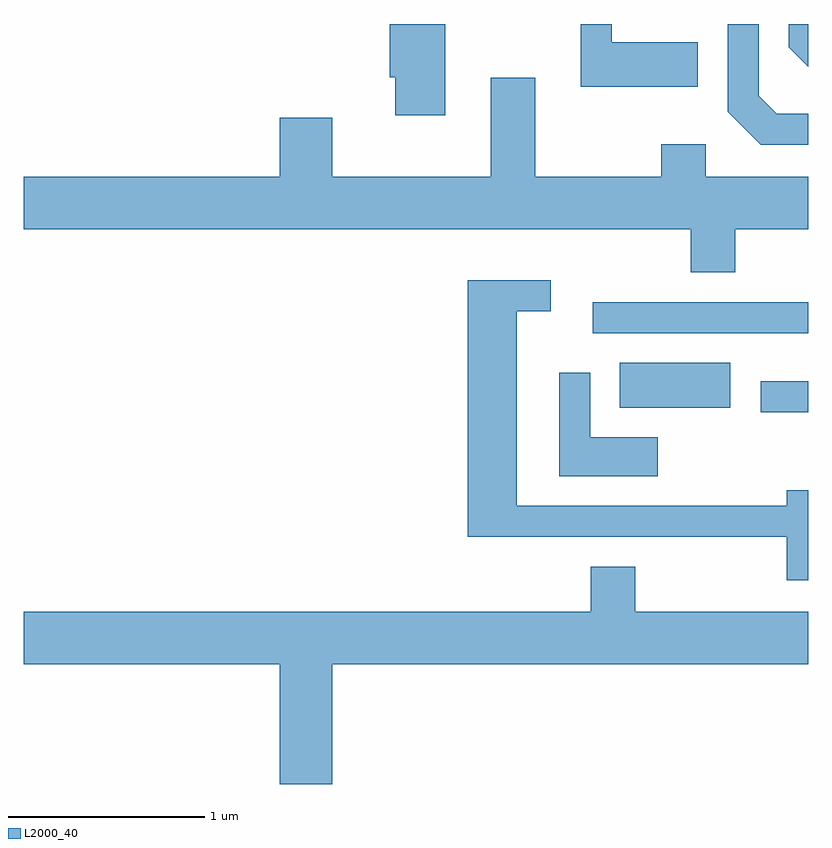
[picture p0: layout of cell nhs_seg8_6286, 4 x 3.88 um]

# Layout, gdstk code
import gdstk
lib = gdstk.Library(unit=1e-6, precision=1e-09)
def R(c, l, rs):  # rectangles x0, y0, x1, y1
    for r in rs: c.add(gdstk.rectangle(r[:2], r[2:], *l))
def P(c, l, *ps):  # polygons
    for p in ps: c.add(gdstk.Polygon(p, *l))
L2000_40 = (2000, 40)

nhs_seg8_6286 = lib.new_cell('nhs_seg8_6286')
R(nhs_seg8_6286, L2000_40, [(377.368,1844.361,377.611,1844.519), (376.651,1844.386,377.214,1844.614), (376.513,1844.766,377.611,1844.924)])
P(nhs_seg8_6286, L2000_40, [(377.611,1845.884),(377.452,1845.884),(377.359,1845.977),(377.359,1846.342),(377.201,1846.342),(377.201,1845.894),(377.369,1845.726),(377.611,1845.726)],
  [(377.049,1846.249),(376.609,1846.249),(376.609,1846.342),(376.451,1846.342),(376.451,1846.021),(377.049,1846.021)],
  [(377.611,1846.342),(377.511,1846.342),(377.511,1846.224),(377.611,1846.124)],
  [(375.759,1846.342),(375.476,1846.342),(375.476,1846.071),(375.506,1846.071),(375.506,1845.876),(375.759,1845.876)],
  [(377.239,1845.296),(377.611,1845.296),(377.611,1845.564),(377.089,1845.564),(377.089,1845.729),(376.861,1845.729),(376.861,1845.564),(376.219,1845.564),(376.219,1846.069),(375.991,1846.069),(375.991,1845.564),(375.184,1845.564),(375.184,1845.864),(374.916,1845.864),(374.916,1845.564),(373.611,1845.564),(373.611,1845.296),(377.011,1845.296),(377.011,1845.076),(377.239,1845.076)],
  [(377.611,1843.964),(377.501,1843.964),(377.501,1843.884),(376.124,1843.884),(376.124,1844.876),(376.298,1844.876),(376.298,1845.034),(375.876,1845.034),(375.876,1843.726),(377.501,1843.726),(377.501,1843.506),(377.611,1843.506)],
  [(376.844,1844.234),(376.499,1844.234),(376.499,1844.563),(376.341,1844.563),(376.341,1844.036),(376.844,1844.036)],
  [(375.184,1843.076),(377.611,1843.076),(377.611,1843.344),(376.729,1843.344),(376.729,1843.574),(376.501,1843.574),(376.501,1843.344),(373.611,1843.344),(373.611,1843.076),(374.916,1843.076),(374.916,1842.466),(375.184,1842.466)])

lib.write_gds('nhs_seg8_6286.gds')
